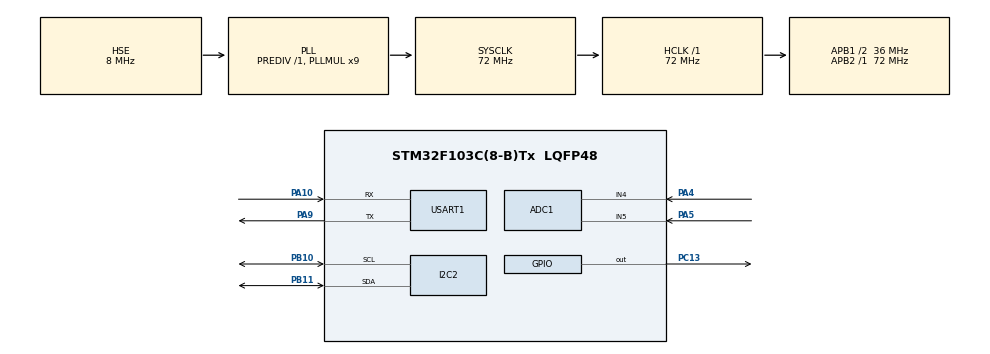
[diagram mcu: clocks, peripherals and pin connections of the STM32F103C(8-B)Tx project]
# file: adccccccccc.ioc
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ADC1.Channel-0\#ChannelRegularConversion=ADC_CHANNEL_5
ADC1.Channel-1\#ChannelRegularConversion=ADC_CHANNEL_4
ADC1.Channel-2\#ChannelRegularConversion=ADC_CHANNEL_TEMPSENSOR
ADC1.Channel-3\#ChannelRegularConversion=ADC_CHANNEL_VREFINT
ADC1.ContinuousConvMode=ENABLE
ADC1.NbrOfConversion=4
ADC1.NbrOfConversionFlag=1
ADC1.Rank-0\#ChannelRegularConversion=1
ADC1.Rank-1\#ChannelRegularConversion=2
ADC1.Rank-2\#ChannelRegularConversion=3
ADC1.Rank-3\#ChannelRegularConversion=4
ADC1.SamplingTime-0\#ChannelRegularConversion=ADC_SAMPLETIME_239CYCLES_5
ADC1.SamplingTime-1\#ChannelRegularConversion=ADC_SAMPLETIME_71CYCLES_5
ADC1.SamplingTime-2\#ChannelRegularConversion=ADC_SAMPLETIME_71CYCLES_5
ADC1.SamplingTime-3\#ChannelRegularConversion=ADC_SAMPLETIME_71CYCLES_5
ADC1.master=1
Dma.ADC1.0.Direction=DMA_PERIPH_TO_MEMORY
Dma.ADC1.0.Instance=DMA1_Channel1
Dma.ADC1.0.MemDataAlignment=DMA_MDATAALIGN_HALFWORD
Dma.ADC1.0.MemInc=DMA_MINC_ENABLE
Dma.ADC1.0.Mode=DMA_CIRCULAR
Dma.ADC1.0.PeriphDataAlignment=DMA_PDATAALIGN_HALFWORD
Dma.ADC1.0.PeriphInc=DMA_PINC_DISABLE
Dma.ADC1.0.Priority=DMA_PRIORITY_LOW
Dma.Request0=ADC1
I2C2.I2C_Mode=I2C_Fast
Mcu.Family=STM32F1
Mcu.Name=STM32F103C(8-B)Tx
Mcu.Package=LQFP48
NVIC.DMA1_Channel1_IRQn=true\:0\:0\:false\:false\:true\:false\:true\:true
NVIC.PriorityGroup=NVIC_PRIORITYGROUP_4
PA10.Mode=Asynchronous
PA10.Signal=USART1_RX
PA13.Mode=Serial_Wire
PA13.Signal=SYS_JTMS-SWDIO
PA14.Mode=Serial_Wire
PA14.Signal=SYS_JTCK-SWCLK
PA4.Signal=ADCx_IN4
PA5.Signal=ADCx_IN5
PA9.Mode=Asynchronous
PA9.Signal=USART1_TX
PB10.Mode=I2C
PB10.Signal=I2C2_SCL
PB11.Mode=I2C
PB11.Signal=I2C2_SDA
PC13-TAMPER-RTC.Signal=GPIO_Output
PD0-OSC_IN.Mode=HSE-External-Oscillator
PD0-OSC_IN.Signal=RCC_OSC_IN
PD1-OSC_OUT.Mode=HSE-External-Oscillator
PD1-OSC_OUT.Signal=RCC_OSC_OUT
ProjectManager.HeapSize=0x200
ProjectManager.StackSize=0x400
ProjectManager.TargetToolchain=MDK-ARM V5.32
RCC.ADCPresc=RCC_ADCPCLK2_DIV6
RCC.AHBFreq_Value=72000000
RCC.APB1CLKDivider=RCC_HCLK_DIV2
RCC.APB1Freq_Value=36000000
RCC.APB1TimFreq_Value=72000000
RCC.APB2Freq_Value=72000000
RCC.APB2TimFreq_Value=72000000
RCC.HCLKFreq_Value=72000000
RCC.PLLMUL=RCC_PLL_MUL9
RCC.PLLSourceVirtual=RCC_PLLSOURCE_HSE
RCC.SYSCLKFreq_VALUE=72000000
RCC.SYSCLKSource=RCC_SYSCLKSOURCE_PLLCLK
RCC.USBFreq_Value=72000000
SH.ADCx_IN4.0=ADC1_IN4,IN4
SH.ADCx_IN5.0=ADC1_IN5,IN5
USART1.VirtualMode=VM_ASYNC
VP_ADC1_TempSens_Input.Mode=IN-TempSens
VP_ADC1_Vref_Input.Mode=IN-Vrefint
board=custom

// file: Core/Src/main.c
/* USER CODE BEGIN Header */
/**
  ******************************************************************************
  * @file           : main.c
  * @brief          : Main program body
  ******************************************************************************
  * @attention
  *
  * Copyright (c) 2026 STMicroelectronics.
  * All rights reserved.
  *
  * This software is licensed under terms that can be found in the LICENSE file
  * in the root directory of this software component.
  * If no LICENSE file comes with this software, it is provided AS-IS.
  *
  ******************************************************************************
  */
/* USER CODE END Header */
#include "main.h"
#include "adc.h"
#include "dma.h"
#include "i2c.h"
#include "usart.h"
#include "gpio.h"

/* USER CODE BEGIN Includes */
#include <stdio.h>
#include <string.h>
#include <math.h>
#include "oled.h"
/* USER CODE END Includes */

void SystemClock_Config(void);

/* USER CODE BEGIN 0 */
uint16_t values[4];
char message[50] = "";

float ADC2Resistance(uint32_t adc_value) {
    return ((4095.0f - adc_value) / adc_value) * 10000.0f;
}

float resistance2Temperature(float R1) {
    float B = 3950.0f;
    float R2 = 10000.0f;
    float T2 = 25.0f;
    return (1.0 / ((1.0 / B) * log(R1 / R2) + (1.0 / (T2 + 273.15)))) - 273.15;
}
//void HAL_ADC_ConvCpltCallback(ADC_HandleTypeDef* hadc) {
 //   if (hadc == &hadc1) {
   //
 //   }
//}
/* USER CODE END 0 */

int main(void)
{

  /* MCU Configuration--------------------------------------------------------*/

  /* Reset of all peripherals, Initializes the Flash interface and the Systick. */
  HAL_Init();

  /* Configure the system clock */
  SystemClock_Config();

  /* Initialize all configured peripherals */
  MX_GPIO_Init();
  MX_DMA_Init();
  MX_ADC1_Init();
  MX_USART1_UART_Init();
  MX_I2C2_Init();
  /* USER CODE BEGIN 2 */
	HAL_Delay(20);
	OLED_Init();

   HAL_ADC_Start_DMA(&hadc1, (uint32_t*)values, 4);
	 float NTC_R = 0.0;
   float temperature = 0.0;
  /* USER CODE END 2 */

  /* Infinite loop */
  /* USER CODE BEGIN WHILE */
  while (1)
  {
    NTC_R = ADC2Resistance(values[1]);
    temperature = resistance2
		Temperature(NTC_R);

    OLED_NewFrame();

    sprintf(message, "阻值: %.2f Ω", NTC_R);
    OLED_PrintString(0, 0, message, &font16x16, OLED_COLOR_NORMAL);

    sprintf(message, "温度: %.2f ℃",temperature);
    OLED_PrintString(0, 25, message, &font15x15, OLED_COLOR_NORMAL);

    OLED_ShowFrame();
    // HAL_Delay(500);

    // sprintf(message, "阻值: %.2f Ω  温度: %.2f ℃", NTC_R, temperature);
    // HAL_UART_Transmit(&huart1, (uint8_t*)message, strlen(message), HAL_MAX_DELAY);
    /* USER CODE END WHILE */

  }
}

void SystemClock_Config(void)
{
  RCC_OscInitTypeDef RCC_OscInitStruct = {0};
  RCC_ClkInitTypeDef RCC_ClkInitStruct = {0};
  RCC_PeriphCLKInitTypeDef PeriphClkInit = {0};

  /** Initializes the RCC Oscillators according to the specified parameters
  * in the RCC_OscInitTypeDef structure.
  */
  RCC_OscInitStruct.OscillatorType = RCC_OSCILLATORTYPE_HSE;
  RCC_OscInitStruct.HSEState = RCC_HSE_ON;
  RCC_OscInitStruct.HSEPredivValue = RCC_HSE_PREDIV_DIV1;
  RCC_OscInitStruct.HSIState = RCC_HSI_ON;
  RCC_OscInitStruct.PLL.PLLState = RCC_PLL_ON;
  RCC_OscInitStruct.PLL.PLLSource = RCC_PLLSOURCE_HSE;
  RCC_OscInitStruct.PLL.PLLMUL = RCC_PLL_MUL9;
  if (HAL_RCC_OscConfig(&RCC_OscInitStruct) != HAL_OK)
  {
    Error_Handler();
  }

  /** Initializes the CPU, AHB and APB buses clocks
  */
  RCC_ClkInitStruct.ClockType = RCC_CLOCKTYPE_HCLK|RCC_CLOCKTYPE_SYSCLK
                              |RCC_CLOCKTYPE_PCLK1|RCC_CLOCKTYPE_PCLK2;
  RCC_ClkInitStruct.SYSCLKSource = RCC_SYSCLKSOURCE_PLLCLK;
  RCC_ClkInitStruct.AHBCLKDivider = RCC_SYSCLK_DIV1;
  RCC_ClkInitStruct.APB1CLKDivider = RCC_HCLK_DIV2;
  RCC_ClkInitStruct.APB2CLKDivider = RCC_HCLK_DIV1;

  if (HAL_RCC_ClockConfig(&RCC_ClkInitStruct, FLASH_LATENCY_2) != HAL_OK)
  {
    Error_Handler();
  }
  PeriphClkInit.PeriphClockSelection = RCC_PERIPHCLK_ADC;
  PeriphClkInit.AdcClockSelection = RCC_ADCPCLK2_DIV6;
  if (HAL_RCCEx_PeriphCLKConfig(&PeriphClkInit) != HAL_OK)
  {
    Error_Handler();
  }
}

void Error_Handler(void)
{
  __disable_irq();
  while (1)
  {
  }
}
